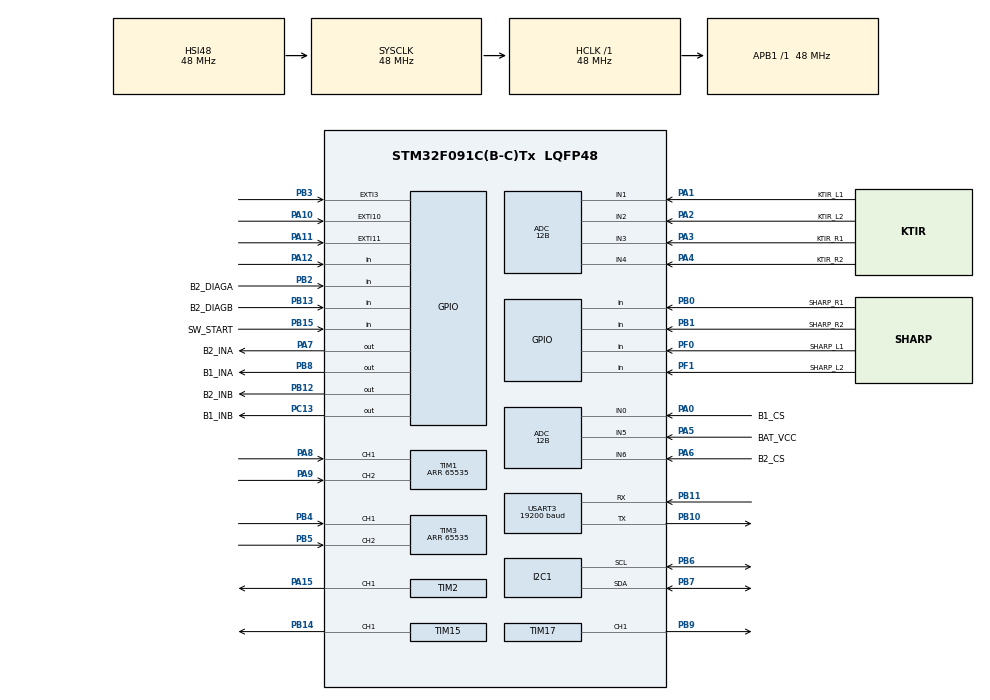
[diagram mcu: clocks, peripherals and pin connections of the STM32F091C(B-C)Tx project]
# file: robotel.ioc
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ADC.ClockPrescaler=ADC_CLOCK_SYNC_PCLK_DIV4
ADC.ContinuousConvMode=ENABLE
ADC.DMAContinuousRequests=ENABLE
ADC.DataAlign=ADC_DATAALIGN_RIGHT
ADC.DiscontinuousConvMode=DISABLE
ADC.EOCSelection=ADC_EOC_SEQ_CONV
ADC.EnableAnalogWatchDog=false
ADC.ExternalTrigConv=ADC_SOFTWARE_START
ADC.ExternalTrigConvEdge=ADC_EXTERNALTRIGCONVEDGE_NONE
ADC.LowPowerAutoPowerOff=DISABLE
ADC.LowPowerAutoWait=DISABLE
ADC.Overrun=ADC_OVR_DATA_PRESERVED
ADC.Resolution=ADC_RESOLUTION_12B
ADC.SamplingTime=ADC_SAMPLETIME_239CYCLES_5
ADC.ScanConvMode=ADC_SCAN_DIRECTION_FORWARD
Dma.ADC.1.Direction=DMA_PERIPH_TO_MEMORY
Dma.ADC.1.Instance=DMA1_Channel1
Dma.ADC.1.MemDataAlignment=DMA_MDATAALIGN_HALFWORD
Dma.ADC.1.MemInc=DMA_MINC_ENABLE
Dma.ADC.1.Mode=DMA_CIRCULAR
Dma.ADC.1.PeriphDataAlignment=DMA_PDATAALIGN_HALFWORD
Dma.ADC.1.PeriphInc=DMA_PINC_DISABLE
Dma.ADC.1.Priority=DMA_PRIORITY_LOW
Dma.Request0=TIM2_CH1
Dma.Request1=ADC
Dma.TIM2_CH1.0.Direction=DMA_MEMORY_TO_PERIPH
Dma.TIM2_CH1.0.Instance=DMA1_Channel5
Dma.TIM2_CH1.0.MemDataAlignment=DMA_MDATAALIGN_BYTE
Dma.TIM2_CH1.0.MemInc=DMA_MINC_ENABLE
Dma.TIM2_CH1.0.Mode=DMA_NORMAL
Dma.TIM2_CH1.0.PeriphDataAlignment=DMA_PDATAALIGN_WORD
Dma.TIM2_CH1.0.PeriphInc=DMA_PINC_DISABLE
Dma.TIM2_CH1.0.Priority=DMA_PRIORITY_LOW
Mcu.Family=STM32F0
Mcu.Name=STM32F091C(B-C)Tx
Mcu.Package=LQFP48
NVIC.DMA1_Ch1_IRQn=true\:0\:0\:false\:false\:true\:true\:true
NVIC.DMA1_Ch4_7_DMA2_Ch3_5_IRQn=true\:0\:0\:false\:false\:true\:true\:true
NVIC.TIM6_DAC_IRQn=true\:0\:0\:false\:false\:true\:true\:true
NVIC.TIM7_IRQn=true\:0\:0\:false\:false\:true\:true\:true
NVIC.USART3_8_IRQn=true\:0\:0\:false\:false\:true\:true\:true
PA0.GPIO_Label=B1_CS
PA0.Mode=IN0
PA0.Signal=ADC_IN0
PA1.GPIO_Label=KTIR_L1
PA1.Mode=IN1
PA1.Signal=ADC_IN1
PA10.Signal=GPXTI10
PA11.Signal=GPXTI11
PA12.GPIO_PuPd=GPIO_PULLDOWN
PA12.Signal=GPIO_Input
PA13.Mode=Serial_Wire
PA13.Signal=SYS_SWDIO
PA14.Mode=Serial_Wire
PA14.Signal=SYS_SWCLK
PA15.Signal=S_TIM2_CH1_ETR
PA2.GPIO_Label=KTIR_L2
PA2.Mode=IN2
PA2.Signal=ADC_IN2
PA3.GPIO_Label=KTIR_R1
PA3.Mode=IN3
PA3.Signal=ADC_IN3
PA4.GPIO_Label=KTIR_R2
PA4.Mode=IN4
PA4.Signal=ADC_IN4
PA5.GPIO_Label=BAT_VCC
PA5.Mode=IN5
PA5.Signal=ADC_IN5
PA6.GPIO_Label=B2_CS
PA6.Mode=IN6
PA6.Signal=ADC_IN6
PA7.GPIO_Label=B2_INA
PA7.Signal=GPIO_Output
PA8.Signal=S_TIM1_CH1
PA9.Signal=S_TIM1_CH2
PB0.GPIO_Label=SHARP_R1
PB0.Signal=GPIO_Input
PB1.GPIO_Label=SHARP_R2
PB1.Signal=GPIO_Input
PB10.Mode=Asynchronous
PB10.Signal=USART3_TX
PB11.Mode=Asynchronous
PB11.Signal=USART3_RX
PB12.GPIO_Label=B2_INB
PB12.Signal=GPIO_Output
PB13.GPIO_Label=B2_DIAGB
PB13.GPIO_PuPd=GPIO_PULLUP
PB13.Signal=GPIO_Input
PB14.Signal=S_TIM15_CH1
PB15.GPIO_Label=SW_START
PB15.Signal=GPIO_Input
PB2.GPIO_Label=B2_DIAGA
PB2.GPIO_PuPd=GPIO_PULLUP
PB2.Signal=GPIO_Input
PB3.Signal=GPXTI3
PB4.Signal=S_TIM3_CH1
PB5.Signal=S_TIM3_CH2
PB6.Mode=I2C
PB6.Signal=I2C1_SCL
PB7.Mode=I2C
PB7.Signal=I2C1_SDA
PB8.GPIO_Label=B1_INA
PB8.Signal=GPIO_Output
PB9.Signal=S_TIM17_CH1
PC13.GPIO_Label=B1_INB
PC13.Signal=GPIO_Output
PC14OSC32_IN.GPIO_Label=B1_DIAGB
PC14OSC32_IN.GPIO_PuPd=GPIO_PULLUP
PC14OSC32_IN.Signal=GPIO_Input
PC15OSC32_OUT.Signal=GPXTI15
PF0-OSC_IN.GPIO_Label=SHARP_L1
PF0-OSC_IN.Signal=GPIO_Input
PF1-OSC_OUT.GPIO_Label=SHARP_L2
PF1-OSC_OUT.Signal=GPIO_Input
PF11BOOT0.GPIO_Label=B1_DIAGA
PF11BOOT0.GPIO_PuPd=GPIO_PULLUP
PF11BOOT0.Signal=GPIO_Input
ProjectManager.HeapSize=0x200
ProjectManager.StackSize=0x400
ProjectManager.TargetToolchain=Other Toolchains (GPDSC)
RCC.AHBFreq_Value=48000000
RCC.APB1Freq_Value=48000000
RCC.APB1TimFreq_Value=48000000
RCC.HCLKFreq_Value=48000000
RCC.PLLSourceVirtual=RCC_PLLSOURCE_HSI
RCC.SYSCLKFreq_VALUE=48000000
RCC.SYSCLKSource=RCC_SYSCLKSOURCE_HSI48
SH.S_TIM15_CH1.0=TIM15_CH1,PWM Generation1 CH1
SH.S_TIM17_CH1.0=TIM17_CH1,PWM Generation1 CH1
SH.S_TIM1_CH1.0=TIM1_CH1,Encoder_Interface
SH.S_TIM1_CH2.0=TIM1_CH2,Encoder_Interface
SH.S_TIM2_CH1_ETR.0=TIM2_CH1,PWM Generation1 CH1
SH.S_TIM3_CH1.0=TIM3_CH1,Encoder_Interface
SH.S_TIM3_CH2.0=TIM3_CH2,Encoder_Interface
TIM1.EncoderMode=TIM_ENCODERMODE_TI12
TIM1.Period=65535
TIM15.Channel-PWM\ Generation1\ CH1=TIM_CHANNEL_1
TIM15.Period=2999
TIM17.Channel=TIM_CHANNEL_1
TIM17.Period=2999
TIM2.Channel-PWM\ Generation1\ CH1=TIM_CHANNEL_1
TIM2.CounterMode=TIM_COUNTERMODE_UP
TIM2.OCFastMode_PWM-PWM\ Generation1\ CH1=TIM_OCFAST_ENABLE
TIM2.OCPolarity_1=TIM_OCPOLARITY_HIGH
TIM2.Period=59
TIM3.EncoderMode=TIM_ENCODERMODE_TI12
TIM3.Period=65535
TIM6.Period=999
TIM6.Prescaler=47
TIM7.Period=99
TIM7.Prescaler=47
USART3.BaudRate=19200
USART3.HwFlowCtl-Asynchronous=UART_HWCONTROL_NONE
USART3.VirtualMode-Asynchronous=VM_ASYNC
USART3.WordLength=WORDLENGTH_8B
VP_TIM17_VS_ClockSourceINT.Mode=Enable_Timer
VP_TIM6_VS_ClockSourceINT.Mode=Enable_Timer
VP_TIM7_VS_ClockSourceINT.Mode=Enable_Timer
board=robotel

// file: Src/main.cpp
/* USER CODE BEGIN Header */
/**
  ******************************************************************************
  * @file           : main.c
  * @brief          : Main program body
  ******************************************************************************
  * @attention
  *
  * <h2><center>&copy; Copyright (c) 2019 STMicroelectronics.
  * All rights reserved.</center></h2>
  *
  * This software component is licensed by ST under BSD 3-Clause license,
  * the "License"; You may not use this file except in compliance with the
  * License. You may obtain a copy of the License at:
  *                        opensource.org/licenses/BSD-3-Clause
  *
  ******************************************************************************
  */
/* USER CODE END Header */

#include "main.h"
#include "adc.h"
#include "dma.h"
#include "i2c.h"
#include "tim.h"
#include "usart.h"
#include "gpio.h"

/* USER CODE BEGIN Includes */
#include <stdio.h>
#include "ws2812.hpp"
#include "kernel.h"
#include "encoder.h"
/* USER CODE END Includes */

void SystemClock_Config(void);

int main(void)
{

  /* MCU Configuration--------------------------------------------------------*/

  /* Reset of all peripherals, Initializes the Flash interface and the Systick. */
  HAL_Init();

  /* Configure the system clock */
  SystemClock_Config();

  /* Initialize all configured peripherals */
  MX_GPIO_Init();
  MX_DMA_Init();
  MX_ADC_Init();
  MX_I2C1_Init();
  MX_TIM1_Init();
  MX_TIM2_Init();
  MX_TIM3_Init();
  MX_TIM6_Init();
  MX_TIM7_Init();
  MX_TIM15_Init();
  MX_TIM17_Init();
  MX_USART3_UART_Init();
  /* USER CODE BEGIN 2 */
  ws2812 test(&htim2, TIM_CHANNEL_1, 1);
  test.setLedColor(0, 10, 10, 10);

	HAL_TIM_PWM_Start(&htim15,TIM_CHANNEL_1);	//Lewe kolo
	HAL_TIM_PWM_Start(&htim17,TIM_CHANNEL_1);	//Prawe kolo
	htim15.Instance->CCR1 = 0;
	htim17.Instance->CCR1 = 0;
	// HAL_GPIO_WritePin(B1_INB_GPIO_Port,B1_INB_Pin,GPIO_PIN_SET);  //To jest do przodu prawe
	HAL_GPIO_WritePin(B2_INA_GPIO_Port,B2_INA_Pin,GPIO_PIN_SET); //To jest do przodu lewe
	HAL_GPIO_WritePin(B1_INA_GPIO_Port,B1_INA_Pin,GPIO_PIN_SET);

  Encoder encLeft(&htim1, 12, 46, 10, 30);
  Encoder encRight(&htim3, 12, 46, 10, 30);

  Kernel::getInstance()->registerObserverToTimerInterrupt(&htim6, &encLeft);
  Kernel::getInstance()->registerObserverToTimerInterrupt(&htim6, &encRight);

  HAL_TIM_Base_Start_IT(&htim6);
  /* USER CODE END 2 */

  /* Infinite loop */
  while (1)
  {

  }
}

void SystemClock_Config(void)
{
  RCC_OscInitTypeDef RCC_OscInitStruct = {0};
  RCC_ClkInitTypeDef RCC_ClkInitStruct = {0};
  RCC_PeriphCLKInitTypeDef PeriphClkInit = {0};

  /** Initializes the CPU, AHB and APB busses clocks
  */
  RCC_OscInitStruct.OscillatorType = RCC_OSCILLATORTYPE_HSI|RCC_OSCILLATORTYPE_HSI48;
  RCC_OscInitStruct.HSIState = RCC_HSI_ON;
  RCC_OscInitStruct.HSI48State = RCC_HSI48_ON;
  RCC_OscInitStruct.HSICalibrationValue = RCC_HSICALIBRATION_DEFAULT;
  RCC_OscInitStruct.PLL.PLLState = RCC_PLL_NONE;
  if (HAL_RCC_OscConfig(&RCC_OscInitStruct) != HAL_OK)
  {
    Error_Handler();
  }
  /** Initializes the CPU, AHB and APB busses clocks
  */
  RCC_ClkInitStruct.ClockType = RCC_CLOCKTYPE_HCLK|RCC_CLOCKTYPE_SYSCLK
                              |RCC_CLOCKTYPE_PCLK1;
  RCC_ClkInitStruct.SYSCLKSource = RCC_SYSCLKSOURCE_HSI48;
  RCC_ClkInitStruct.AHBCLKDivider = RCC_SYSCLK_DIV1;
  RCC_ClkInitStruct.APB1CLKDivider = RCC_HCLK_DIV1;

  if (HAL_RCC_ClockConfig(&RCC_ClkInitStruct, FLASH_LATENCY_1) != HAL_OK)
  {
    Error_Handler();
  }
  PeriphClkInit.PeriphClockSelection = RCC_PERIPHCLK_USART3|RCC_PERIPHCLK_I2C1;
  PeriphClkInit.Usart3ClockSelection = RCC_USART3CLKSOURCE_PCLK1;
  PeriphClkInit.I2c1ClockSelection = RCC_I2C1CLKSOURCE_HSI;
  if (HAL_RCCEx_PeriphCLKConfig(&PeriphClkInit) != HAL_OK)
  {
    Error_Handler();
  }
}

/* USER CODE BEGIN 4 */
void HAL_TIM_PeriodElapsedCallback(TIM_HandleTypeDef *htim)
{
  Kernel::getInstance()->timerInterruptNotification(htim);
}

void HAL_UART_RxCpltCallback(UART_HandleTypeDef *huart)
{
  static uint8_t test = 0;
  HAL_UART_Receive_IT(&huart3, &test, 1);
}

/* USER CODE END 4 */

void Error_Handler(void)
{
}

/************************ (C) COPYRIGHT STMicroelectronics *****END OF FILE****/
